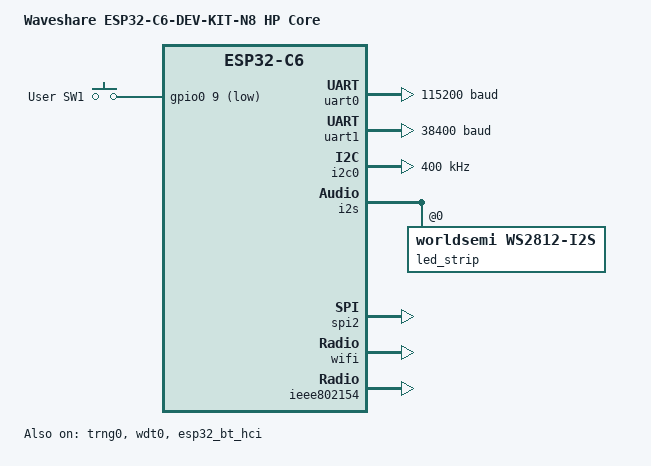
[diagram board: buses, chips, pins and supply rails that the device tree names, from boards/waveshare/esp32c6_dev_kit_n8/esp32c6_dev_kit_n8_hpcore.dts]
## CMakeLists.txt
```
cmake_minimum_required(VERSION 3.20.0)

list(APPEND BOARD_ROOT ${CMAKE_CURRENT_SOURCE_DIR})

find_package(Zephyr REQUIRED HINTS $ENV{ZEPHYR_BASE})
project(esp_nmea_bridge)

target_sources(app PRIVATE
  src/main.c
  src/ais_mmsi_filter.c
  src/bridge_config.c
  src/nmea_bridge.c
  src/uart_nmea.c
  src/wifi_manager.c
  src/tcp_nmea_server.c
  src/tcp_nmea_session.c
  src/tcp_nmea_client.c
)

configure_file(
  ${CMAKE_CURRENT_SOURCE_DIR}/src/web_assets.S.in
  ${CMAKE_CURRENT_BINARY_DIR}/web_assets.S
  @ONLY
)

# Keep every embedded WebApp asset listed here so UI-only OTA changes
# invalidate the generated incbin object without relying on implicit scans.
set_property(SOURCE ${CMAKE_CURRENT_BINARY_DIR}/web_assets.S PROPERTY OBJECT_DEPENDS
  ${CMAKE_CURRENT_SOURCE_DIR}/src/web_assets/index.html
  ${CMAKE_CURRENT_SOURCE_DIR}/src/web_assets/app.js
  ${CMAKE_CURRENT_SOURCE_DIR}/src/web_assets/style.css
)

target_sources_ifdef(CONFIG_ESP_NMEA_BRIDGE_WEB_APP_ENABLE app PRIVATE
  src/bridge_telemetry.c
  src/web_app.c
  ${CMAKE_CURRENT_BINARY_DIR}/web_assets.S
)

target_sources_ifdef(CONFIG_ESP_NMEA_BRIDGE_OTA_UPDATE_ENABLE app PRIVATE
  src/ota_update.c
)

target_sources_ifdef(CONFIG_ESP_NMEA_BRIDGE_STATUS_LED_ENABLE app PRIVATE
  src/status_led.c
  src/status_led_policy.c
)

target_sources_ifdef(CONFIG_ESP_NMEA_BRIDGE_DNS_SD_ENABLE app PRIVATE
  src/nmea_dns_sd.c
)
```

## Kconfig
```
# ESP NMEA Bridge application configuration

mainmenu "ESP NMEA Bridge"

menu "ESP NMEA-0183 serial bridge"

config ESP_NMEA_BRIDGE_AP_ENABLE
	bool "Enable ESP32 SoftAP"
	default y

config ESP_NMEA_BRIDGE_STA_ENABLE
	bool "Enable Wi-Fi station mode"
	default y
	help
	  Runtime default only: station support is always built in, and a
	  stored bridge-configuration override takes precedence at boot.

config ESP_NMEA_BRIDGE_TCP_NMEA_SERVER_ENABLE
	bool "Enable TCP NMEA server"
	default y

config ESP_NMEA_BRIDGE_TCP_NMEA_CLIENT_ENABLE
	bool "Enable TCP NMEA client"
	default y
	help
	  Runtime default only: the TCP NMEA client is always built in, and a
	  stored bridge-configuration override takes precedence.

config ESP_NMEA_BRIDGE_WEB_APP_ENABLE
	bool "Enable HTTP status web app"
	default y
	depends on NETWORKING
	depends on NET_TCP
	depends on NET_SOCKETS
	select REBOOT
	help
	  Serve a small HTTP web app and JSON status endpoint on port 80.
	  The browser polls /api/status to display bridge telemetry counters.
	  Includes the configuration API with its explicit reboot endpoint.

config ESP_NMEA_BRIDGE_OTA_UPDATE_ENABLE
	bool "Enable WebApp firmware OTA updates"
	default n
	depends on ESP_NMEA_BRIDGE_WEB_APP_ENABLE
	depends on FLASH
	depends on FLASH_MAP
	depends on STREAM_FLASH
	depends on IMG_MANAGER
	select REBOOT
	help
	  Enable firmware upload through the local WebApp. Uploaded images are
	  written to the MCUboot upload slot and booted once as a test image.
	  Leave this disabled unless the WebApp network is trusted.

config ESP_NMEA_BRIDGE_OTA_MAX_UPLOAD_BYTES
	int "Maximum OTA upload size in bytes"
	default 0
	depends on ESP_NMEA_BRIDGE_OTA_UPDATE_ENABLE
	help
	  Optional upload-size ceiling. A value of 0 uses the MCUboot upload slot
	  size reported by the flash map at runtime.

config ESP_NMEA_BRIDGE_OTA_UPLOAD_TRUSTED_NETWORK_ENABLE
	bool "Allow WebApp OTA uploads from the reachable HTTP network"
	default n
	depends on ESP_NMEA_BRIDGE_OTA_UPDATE_ENABLE
	help
	  Allow POST /api/ota/upload to accept firmware bytes from clients that can
	  reach the WebApp. Enable only on an isolated or otherwise trusted network;
	  this is a deliberate acknowledgement that the endpoint has no per-user
	  authentication.

config ESP_NMEA_BRIDGE_STATUS_LED_ENABLE
	bool "Enable status LED observer"
	default y
	select LED_STRIP
	help
	  Enable the optional status LED observer. When enabled, the observer
	  looks for a NeoPixel-compatible LED strip through the led-strip
	  devicetree alias and renders NMEA connection state. Missing or
	  non-ready LED hardware is non-fatal.

config ESP_NMEA_BRIDGE_AIS_SELF_MMSI_FILTER_ENABLE
	bool "AIS self-MMSI filter enabled by default"
	default n
	help
	  Runtime default for the AIS self-MMSI filter, which drops AIS VDM
	  NMEA frames whose decoded MMSI matches the configured own MMSI.
	  The filter is always built in; a runtime override stored through
	  the web app's Configuration tab takes precedence over this default.

config ESP_NMEA_BRIDGE_AIS_SELF_MMSI_FILTER_MMSI
	int "Own MMSI runtime default for AIS self-MMSI filter"
	default 0
	range 0 999999999
	help
	  Runtime default for the own MMSI to filter. A stored runtime
	  override takes precedence. A value of 0 leaves the filter
	  effectively inactive even when it is enabled.

config ESP_NMEA_BRIDGE_MDNS_ENABLE
	bool "Enable mDNS hostname responder"
	default n
	select NET_HOSTNAME_ENABLE
	select MDNS_RESPONDER
	help
	  Enable Zephyr's mDNS responder so the device can answer
	  <hostname>.local queries. Set CONFIG_NET_HOSTNAME to choose the
	  hostname.

config ESP_NMEA_BRIDGE_DNS_SD_ENABLE
	bool "Advertise enabled services via DNS-SD"
	default n
	depends on ESP_NMEA_BRIDGE_MDNS_ENABLE
	depends on ESP_NMEA_BRIDGE_TCP_NMEA_SERVER_ENABLE || ESP_NMEA_BRIDGE_WEB_APP_ENABLE
	select DNS_SD
	select MDNS_RESPONDER_DNS_SD
	help
	  Advertise enabled network services via DNS Service Discovery. The TCP
	  NMEA-0183 server is advertised as _nmea-0183._tcp.local when enabled;
	  the built-in web app is advertised as _http._tcp.local when enabled.
	  Services are only advertised when the corresponding listener is built in.

config ESP_NMEA_BRIDGE_TCP_NMEA_CLIENT_HOST
	string "TCP NMEA server IPv4 address"
	default ""
	help
	  IPv4 address of the upstream TCP NMEA server. Leave empty to use the
	  DHCP gateway learned on the STA interface, useful when the ESP connects
	  directly to a Raspberry Pi/OpenPlotter hotspot.
	  Runtime default; a stored bridge-configuration override wins.

config ESP_NMEA_BRIDGE_TCP_NMEA_CLIENT_PORT
	int "TCP NMEA client target port"
	default ESP_NMEA_BRIDGE_TCP_NMEA_PORT
	range 1 65535
	help
	  Target port of the upstream TCP NMEA server. Defaults to the shared
	  TCP NMEA port. Runtime default; a stored bridge-configuration
	  override wins. The TCP NMEA server listener port stays build-time
	  only.

config ESP_NMEA_BRIDGE_AP_SSID
	string "SoftAP SSID"
	default "ESP-NMEA0183"
	help
	  Runtime default; a stored bridge-configuration override wins.

config ESP_NMEA_BRIDGE_AP_PSK
	string "SoftAP WPA2 PSK password"
	default "ChangeMe1234"
	help
	  Prototype default only. Override in a local/pristine overlay for real use.
	  Leave empty to start an open SoftAP.
	  Runtime default; a stored bridge-configuration override wins.

config ESP_NMEA_BRIDGE_STA_SSID
	string "STA target AP SSID"
	default ""
	help
	  Runtime default; a stored bridge-configuration override wins.

config ESP_NMEA_BRIDGE_STA_PSK
	string "STA target AP password"
	default ""
	help
	  Runtime default; a stored bridge-configuration override wins.

config ESP_NMEA_BRIDGE_STA_ROTATE_MAC
	bool "Rotate STA MAC address on boot"
	default y
	help
	  Use a random locally administered STA MAC address on each boot. This
	  avoids stale station state on APs that keep the previous association
	  after the ESP resets without sending a deauthentication frame.
	  Runtime default; a stored bridge-configuration override wins.

config ESP_NMEA_BRIDGE_TCP_NMEA_PORT
	int "TCP NMEA port"
	default 10110

config ESP_NMEA_BRIDGE_TCP_NMEA_SERVER_MAX_PEERS
	int "Maximum TCP NMEA server peers"
	default 3
	range 1 8

config ESP_NMEA_BRIDGE_NMEA_SINKS_MAX
	int "Maximum NMEA bridge sinks"
	default 4
	range 1 9
	help
	  Maximum concurrent sinks registered with the in-process NMEA bridge.
	  TCP NMEA server sessions and the outbound TCP NMEA client each consume
	  one sink while connected. Keep this at least TCP_NMEA_SERVER_MAX_PEERS
	  plus one when the TCP NMEA client is enabled.

config ESP_NMEA_BRIDGE_NMEA_FRAME_MAX_LEN
	int "Maximum NMEA frame length"
	default 128
	range 32 512

config ESP_NMEA_BRIDGE_INGEST_QUEUE_DEPTH
	int "NMEA ingest queue depth"
	default 32
	range 2 256

config ESP_NMEA_BRIDGE_SINK_QUEUE_DEPTH
	int "Per-sink NMEA queue depth"
	default 16
	range 2 128

config ESP_NMEA_BRIDGE_AP_IP_ADDRESS
	string "SoftAP IPv4 address"
	default "192.168.4.1"

config ESP_NMEA_BRIDGE_AP_NETMASK
	string "SoftAP IPv4 netmask"
	default "255.255.255.0"

endmenu

source "Kconfig.zephyr"
```

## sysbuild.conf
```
# Build MCUboot together with the application and sign the application image.
SB_CONFIG_BOOTLOADER_MCUBOOT=y
```

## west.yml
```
manifest:
  remotes:
    - name: zephyrproject-rtos
      url-base: https://github.com/zephyrproject-rtos

  defaults:
    remote: zephyrproject-rtos

  projects:
    - name: zephyr
      revision: 6072d4880d2d8deeadb506929adca4dba44c8220
      import: true

  self:
    path: esp-nmea-bridge
```

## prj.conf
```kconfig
# ESP NMEA Bridge application configuration

# Logging
CONFIG_LOG=y
CONFIG_LOG_MODE_DEFERRED=y
CONFIG_LOG_DEFAULT_LEVEL=3
CONFIG_NET_LOG=y

# UART NMEA input
CONFIG_SERIAL=y
CONFIG_UART_CONSOLE=y

# Board flash: the Waveshare N8 module has 8 MiB. Keep the image header in
# sync so the ROM bootloader validates the flashed image correctly.
CONFIG_ESPTOOLPY_FLASHSIZE_8MB=y

# DFU image handling used by the future OTA path. Sysbuild sets
# CONFIG_BOOTLOADER_MCUBOOT when MCUboot builds are requested.
CONFIG_FLASH=y
CONFIG_FLASH_MAP=y
CONFIG_STREAM_FLASH=y
CONFIG_IMG_MANAGER=y
CONFIG_IMG_ERASE_PROGRESSIVELY=y

# Bridge configuration overrides persisted via the Settings subsystem on the
# NVS storage partition; Kconfig values stay the defaults (see ADR 0002).
CONFIG_NVS=y
CONFIG_SETTINGS=y
CONFIG_SETTINGS_NVS=y

# JSON parsing for the config web API
CONFIG_JSON_LIBRARY=y

# Runtime heap: ESP-IDF's Wi-Fi stack creates legacy ETS timers dynamically
# while enabling AP+STA. The default ESP Wi-Fi heap add-on is too tight and
# can make esp_timer_create() fail with ESP_ERR_NO_MEM.
CONFIG_HEAP_MEM_POOL_SIZE=98304

# Wi-Fi AP+STA
CONFIG_WIFI=y
CONFIG_WIFI_NM=y
CONFIG_WIFI_ESP32=y
CONFIG_WIFI_USAGE_MODE_STA_AP=y
# Prefer a full STA scan over ESP-IDF fast scan. This mirrors the robust
# client behaviour we expect from the ESP-IDF implementation and avoids
# latching onto the first matching BSSID seen in marginal RF conditions.
CONFIG_ESP32_WIFI_STA_SCAN_ALL=y
# Network core
CONFIG_NETWORKING=y
CONFIG_NET_IPV4=y
CONFIG_NET_IPV6=n
CONFIG_NET_TCP=y
CONFIG_NET_UDP=y
CONFIG_NET_SOCKETS=y
CONFIG_NET_CONTEXT_RCVTIMEO=y
CONFIG_NET_MGMT=y
CONFIG_NET_MGMT_EVENT=y
CONFIG_NET_MGMT_EVENT_INFO=y
CONFIG_NET_MGMT_EVENT_QUEUE_SIZE=16
CONFIG_NET_MGMT_EVENT_STACK_SIZE=4096
CONFIG_NET_CONNECTION_MANAGER=y
CONFIG_NET_CONFIG_AUTO_INIT=n
CONFIG_NET_L2_ETHERNET=y
CONFIG_NET_L2_WIFI_MGMT=y

# Device hostname: the Kconfig value is the runtime default; a stored
# bridge-configuration override is applied at boot via the dynamic hostname
# support and affects mDNS (<hostname>.local) and the DHCP client hostname.
# Keep discovery default-off in committed defaults; enable the app options in
# local.conf.
CONFIG_NET_HOSTNAME_ENABLE=y
CONFIG_NET_HOSTNAME_DYNAMIC=y
CONFIG_NET_HOSTNAME="esp-nmea-bridge"
CONFIG_ESP_NMEA_BRIDGE_MDNS_ENABLE=n
CONFIG_ESP_NMEA_BRIDGE_DNS_SD_ENABLE=n

# IPv4 addressing for AP and STA
CONFIG_NET_DHCPV4=y
CONFIG_NET_DHCPV4_SERVER=y
CONFIG_NET_IF_MAX_IPV4_COUNT=2

# Packet/socket resources for multiple clients and AP+STA
CONFIG_NET_PKT_RX_COUNT=24
CONFIG_NET_PKT_TX_COUNT=24
CONFIG_NET_BUF_RX_COUNT=48
CONFIG_NET_BUF_TX_COUNT=48
CONFIG_NET_SOCKETS_SERVICE_STACK_SIZE=4096
# AP DHCPv4 and optional mDNS/DNS-SD share Zephyr's socket service. The
# default poll table size (3) is too small once mDNS is enabled.
CONFIG_ZVFS_POLL_MAX=8
CONFIG_NET_MAX_CONN=16
CONFIG_NET_MAX_CONTEXTS=16

# Application defaults; override credentials in a local overlay, not source.
CONFIG_ESP_NMEA_BRIDGE_AP_ENABLE=y
CONFIG_ESP_NMEA_BRIDGE_STA_ENABLE=y
CONFIG_ESP_NMEA_BRIDGE_TCP_NMEA_SERVER_ENABLE=y
CONFIG_ESP_NMEA_BRIDGE_TCP_NMEA_CLIENT_ENABLE=y
CONFIG_ESP_NMEA_BRIDGE_WEB_APP_ENABLE=y
# Keep both firmware-write OTA gates disabled in committed defaults; enable only
# in local.conf or another uncommitted overlay for trusted-network development.
CONFIG_ESP_NMEA_BRIDGE_OTA_UPDATE_ENABLE=n
CONFIG_ESP_NMEA_BRIDGE_OTA_UPLOAD_TRUSTED_NETWORK_ENABLE=n
CONFIG_ESP_NMEA_BRIDGE_AP_SSID="ESP-NMEA0183"
CONFIG_ESP_NMEA_BRIDGE_AP_PSK="ChangeMe1234"
CONFIG_ESP_NMEA_BRIDGE_TCP_NMEA_PORT=10110
CONFIG_ESP_NMEA_BRIDGE_TCP_NMEA_SERVER_MAX_PEERS=3
CONFIG_ESP_NMEA_BRIDGE_NMEA_SINKS_MAX=4
CONFIG_ESP_NMEA_BRIDGE_NMEA_FRAME_MAX_LEN=128
CONFIG_ESP_NMEA_BRIDGE_INGEST_QUEUE_DEPTH=32
CONFIG_ESP_NMEA_BRIDGE_SINK_QUEUE_DEPTH=16
CONFIG_ESP_NMEA_BRIDGE_AP_IP_ADDRESS="192.168.4.1"
CONFIG_ESP_NMEA_BRIDGE_AP_NETMASK="255.255.255.0"
```

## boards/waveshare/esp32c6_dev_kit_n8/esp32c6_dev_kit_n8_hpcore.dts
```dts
/*
 * Copyright (c) 2023 Espressif Systems (Shanghai) Co., Ltd.
 *
 * SPDX-License-Identifier: Apache-2.0
 */

/dts-v1/;

#include <espressif/esp32c6/esp32c6_wroom_n8.dtsi>
#include "esp32c6_dev_kit_n8_hpcore-pinctrl.dtsi"
#include <zephyr/dt-bindings/input/input-event-codes.h>
#include <zephyr/dt-bindings/led/led.h>
#include <espressif/partitions_0x0_default.dtsi>

/ {
	model = "Waveshare ESP32-C6-DEV-KIT-N8 HP Core";
	compatible = "waveshare,esp32-c6-dev-kit-n8";

	chosen {
		zephyr,sram = &sramhp;
		zephyr,console = &uart0;
		zephyr,shell-uart = &uart0;
		zephyr,flash = &flash0;
		zephyr,code-partition = &slot0_partition;
		zephyr,ieee802154 = &ieee802154;
	};

	aliases {
		led-strip = &led_strip;
		serial1 = &uart1;
		sw0 = &user_button1;
		watchdog0 = &wdt0;
	};

	gpio_keys {
		compatible = "gpio-keys";

		user_button1: button_1 {
			label = "User SW1";
			gpios = <&gpio0 9 (GPIO_PULL_UP | GPIO_ACTIVE_LOW)>;
			zephyr,code = <INPUT_KEY_0>;
		};
	};
};

&uart0 {
	status = "okay";
	current-speed = <115200>;
	pinctrl-0 = <&uart0_default>;
	pinctrl-names = "default";
};

&uart1 {
	status = "okay";
	current-speed = <38400>;
	pinctrl-0 = <&uart1_default>;
	pinctrl-names = "default";
};

&trng0 {
	status = "okay";
};

&i2c0 {
	status = "okay";
	clock-frequency = <I2C_BITRATE_FAST>;
	pinctrl-0 = <&i2c0_default>;
	pinctrl-names = "default";
};

&i2s {
	status = "okay";
	pinctrl-0 = <&i2s_default>;
	pinctrl-names = "default";
	dmas = <&dma 3>;
	dma-names = "tx";

	led_strip: ws2812@0 {
		compatible = "worldsemi,ws2812-i2s";
		reg = <0>;
		chain-length = <1>;
		color-mapping = <LED_COLOR_ID_RED
				 LED_COLOR_ID_GREEN
				 LED_COLOR_ID_BLUE>;
		reset-delay = <500>;
	};
};

&spi2 {
	#address-cells = <1>;
	#size-cells = <0>;
	status = "okay";
	pinctrl-0 = <&spim2_default>;
	pinctrl-names = "default";
};

&gpio0 {
	status = "okay";
};

&dma {
	status = "okay";
};

&wdt0 {
	status = "okay";
};

&wifi {
	status = "okay";
};

&ieee802154 {
	status = "okay";
};

&esp32_bt_hci {
	status = "okay";
};
```

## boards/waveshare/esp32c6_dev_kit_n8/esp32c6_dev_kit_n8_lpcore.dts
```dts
/*
 * Copyright (c) 2025 Espressif Systems (Shanghai) Co., Ltd.
 *
 * SPDX-License-Identifier: Apache-2.0
 */
/dts-v1/;

#include <espressif/esp32c6/esp32c6_lpcore_wroom_n4.dtsi>
#include <espressif/partitions_0x0_default.dtsi>

/ {
	model = "Waveshare ESP32-C6-DEV-KIT-N8 LPCORE";
	compatible = "waveshare,esp32-c6-dev-kit-n8";

	chosen {
		zephyr,sram = &ulp_ram;
		zephyr,code-partition = &slot0_lpcore_partition;
		zephyr,console = &lp_uart;
		zephyr,shell-uart = &lp_uart;
	};
};

&lp_uart {
	status = "okay";
	current-speed = <115200>;
};
```

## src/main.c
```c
#include "bridge_config.h"
#include "nmea_bridge.h"
#include "status_led.h"
#include "tcp_nmea_server.h"
#include "tcp_nmea_client.h"
#include "uart_nmea.h"
#include "web_app.h"
#include "wifi_manager.h"

#include <string.h>

#include <zephyr/kernel.h>
#include <zephyr/logging/log.h>
#include <zephyr/net/hostname.h>

LOG_MODULE_REGISTER(main, LOG_LEVEL_INF);

static void stats_thread(void *a, void *b, void *c)
{
	ARG_UNUSED(a);
	ARG_UNUSED(b);
	ARG_UNUSED(c);

	for (;;) {
		struct uart_nmea_stats uart_stats;
		struct nmea_bridge_stats bridge_stats;

		uart_nmea_get_stats(&uart_stats);
		nmea_bridge_get_stats(&bridge_stats);

		LOG_INF("stats: uart_bytes=%u uart_frames=%u overlong=%u frames=%u ingest_drop=%u sink_drop=%u no_sinks=%u invalid=%u oversize=%u",
			uart_stats.bytes_rx, uart_stats.frames_rx, uart_stats.overlong_frames,
			bridge_stats.frames_in, bridge_stats.ingest_dropped_oldest,
			bridge_stats.sink_dropped_oldest, bridge_stats.publish_no_sinks,
			bridge_stats.publish_invalid, bridge_stats.publish_oversize);

		k_sleep(K_SECONDS(30));
	}
}

K_THREAD_DEFINE(stats_tid, 2048, stats_thread, NULL, NULL, NULL,
	       10, 0, 0);

/*
 * Hostname is reboot-scope: applied once before the network comes up. mDNS
 * and the DHCP client read the hostname per request, so setting it here is
 * sufficient for <hostname>.local and the router's client list.
 */
static void apply_hostname(void)
{
	struct bridge_config_system sys_cfg;
	int ret;

	if (!IS_ENABLED(CONFIG_NET_HOSTNAME_DYNAMIC)) {
		return;
	}

	bridge_config_get_system(&sys_cfg);
	ret = net_hostname_set(sys_cfg.hostname, strlen(sys_cfg.hostname));
	if (ret != 0) {
		LOG_WRN("Setting hostname %s failed: %d", sys_cfg.hostname, ret);
	}
}

static void bridge_config_changed(void)
{
	struct bridge_config_ais ais;

	bridge_config_get_ais(&ais);
	uart_nmea_set_ais_config(ais.filter_enabled, ais.own_mmsi);
	tcp_nmea_client_config_changed();
}

int main(void)
{
	LOG_INF("ESP NMEA bridge on %s", CONFIG_BOARD_TARGET);

	nmea_bridge_init();

	int ret = bridge_config_init();
	if (ret != 0) {
		LOG_WRN("Bridge config load returned %d; using build-time defaults", ret);
	}
	bridge_config_set_listener(bridge_config_changed);
	bridge_config_changed();
	apply_hostname();

	(void)status_led_start();

	ret = uart_nmea_start();
	if (ret != 0) {
		LOG_ERR("UART NMEA startup failed: %d", ret);
		return ret;
	}

	/* Let the ESP32 Wi-Fi stack settle, matching Zephyr AP+STA sample practice. */
	k_sleep(K_SECONDS(5));

	ret = wifi_manager_start();
	if (ret != 0) {
		LOG_WRN("Wi-Fi startup returned %d; UART ingestion continues", ret);
	}

	ret = tcp_nmea_server_start();
	if (ret != 0) {
		LOG_WRN("TCP NMEA server startup returned %d; UART ingestion continues", ret);
	}

	ret = tcp_nmea_client_start();
	if (ret != 0) {
		LOG_WRN("TCP NMEA client startup returned %d; UART ingestion continues", ret);
	}

	ret = web_app_start();
	if (ret != 0) {
		LOG_WRN("Web app startup returned %d; UART ingestion continues", ret);
	}

	return 0;
}
```

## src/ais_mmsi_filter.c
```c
#include "ais_mmsi_filter.h"

#include <ctype.h>
#include <string.h>

struct field_view {
	const char *ptr;
	size_t len;
};

static int hex_value(char ch)
{
	if (ch >= '0' && ch <= '9') {
		return ch - '0';
	}
	if (ch >= 'A' && ch <= 'F') {
		return ch - 'A' + 10;
	}
	if (ch >= 'a' && ch <= 'f') {
		return ch - 'a' + 10;
	}
	return -1;
}

static bool checksum_is_valid(const char *frame, size_t len, size_t *body_start,
				      size_t *body_len)
{
	if (len < 5U || (frame[0] != '!' && frame[0] != '$')) {
		return false;
	}

	size_t star = 0U;
	for (size_t i = 1U; i < len; i++) {
		if (frame[i] == '*') {
			star = i;
			break;
		}
	}
	if (star == 0U || star + 2U >= len) {
		return false;
	}

	int hi = hex_value(frame[star + 1U]);
	int lo = hex_value(frame[star + 2U]);
	if (hi < 0 || lo < 0) {
		return false;
	}

	uint8_t actual = 0U;
	for (size_t i = 1U; i < star; i++) {
		actual ^= (uint8_t)frame[i];
	}

	if (actual != (uint8_t)((hi << 4) | lo)) {
		return false;
	}

	*body_start = 1U;
	*body_len = star - 1U;
	return true;
}

static bool split_fields(const char *body, size_t body_len, struct field_view *fields,
				 size_t field_count)
{
	size_t field = 0U;
	size_t start = 0U;

	for (size_t i = 0U; i <= body_len; i++) {
		if (i != body_len && body[i] != ',') {
			continue;
		}

		if (field >= field_count) {
			return true;
		}

		fields[field].ptr = &body[start];
		fields[field].len = i - start;
		field++;
		start = i + 1U;
	}

	return field >= field_count;
}

static bool parse_uint_field(const struct field_view *field, uint8_t *value)
{
	if (field->len == 0U || field->len > 3U) {
		return false;
	}

	uint16_t parsed = 0U;
	for (size_t i = 0U; i < field->len; i++) {
		if (!isdigit((unsigned char)field->ptr[i])) {
			return false;
		}
		parsed = (uint16_t)(parsed * 10U + (uint16_t)(field->ptr[i] - '0'));
		if (parsed > UINT8_MAX) {
			return false;
		}
	}

	*value = (uint8_t)parsed;
	return true;
}

static int ais_sixbit_value(char ch)
{
	unsigned char c = (unsigned char)ch;

	if (c < 48U || c > 119U) {
		return -1;
	}

	int value = (int)c - 48;
	if (value > 40) {
		value -= 8;
	}
	if (value < 0 || value > 63) {
		return -1;
	}
	return value;
}

static bool decode_mmsi(const struct field_view *payload, uint32_t *mmsi)
{
	if (payload->len < 7U) {
		return false;
	}

	uint64_t bits = 0U;
	for (size_t i = 0U; i < 7U; i++) {
		int value = ais_sixbit_value(payload->ptr[i]);
		if (value < 0) {
			return false;
		}
		bits = (bits << 6) | (uint64_t)value;
	}

	*mmsi = (uint32_t)((bits >> 4) & 0x3fffffffU);
	return true;
}

static bool formatter_is_vdm(const struct field_view *formatter)
{
	return formatter->len == 5U && formatter->ptr[2] == 'V' && formatter->ptr[3] == 'D' &&
	       formatter->ptr[4] == 'M';
}

static char channel_value(const struct field_view *channel)
{
	return channel->len == 1U ? channel->ptr[0] : '\0';
}

static bool sequence_matches(const struct ais_mmsi_filter_sequence *sequence,
			     const struct field_view *seq_id, char channel, uint8_t total,
			     uint8_t fragment)
{
	return sequence->active && sequence->total_fragments == total &&
	       sequence->next_fragment == fragment && sequence->channel == channel &&
	       strlen(sequence->sequence_id) == seq_id->len &&
	       strncmp(sequence->sequence_id, seq_id->ptr, seq_id->len) == 0;
}

static void remember_sequence(struct ais_mmsi_filter *filter, const struct field_view *seq_id,
			      char channel, uint8_t total)
{
	if (seq_id->len == 0U || seq_id->len > AIS_MMSI_FILTER_SEQ_ID_MAX_LEN || total < 2U) {
		filter->sequence.active = false;
		return;
	}

	filter->sequence.active = true;
	filter->sequence.total_fragments = total;
	filter->sequence.next_fragment = 2U;
	filter->sequence.channel = channel;
	memcpy(filter->sequence.sequence_id, seq_id->ptr, seq_id->len);
	filter->sequence.sequence_id[seq_id->len] = '\0';
}

void ais_mmsi_filter_init(struct ais_mmsi_filter *filter, uint32_t own_mmsi)
{
	if (filter == NULL) {
		return;
	}

	memset(filter, 0, sizeof(*filter));
	filter->own_mmsi = own_mmsi;
}

bool ais_mmsi_filter_should_drop(struct ais_mmsi_filter *filter, const void *frame, size_t len)
{
	if (filter == NULL || frame == NULL || len == 0U || filter->own_mmsi == 0U) {
		return false;
	}

	const char *text = frame;
	size_t body_start;
	size_t body_len;
	if (!checksum_is_valid(text, len, &body_start, &body_len)) {
		return false;
	}

	struct field_view fields[7] = { 0 };
	if (!split_fields(&text[body_start], body_len, fields, 7U) || !formatter_is_vdm(&fields[0])) {
		return false;
	}

	uint8_t total;
	uint8_t fragment;
	if (!parse_uint_field(&fields[1], &total) || !parse_uint_field(&fields[2], &fragment) ||
	    total == 0U || fragment == 0U || fragment > total) {
		return false;
	}

	char channel = channel_value(&fields[4]);

	if (fragment > 1U) {
		if (!sequence_matches(&filter->sequence, &fields[3], channel, total, fragment)) {
			return false;
		}
		filter->sequence.next_fragment++;
		if (filter->sequence.next_fragment > filter->sequence.total_fragments) {
			filter->sequence.active = false;
		}
		return true;
	}

	uint32_t mmsi;
	if (!decode_mmsi(&fields[5], &mmsi) || mmsi != filter->own_mmsi) {
		return false;
	}

	if (total > 1U) {
		remember_sequence(filter, &fields[3], channel, total);
	} else {
		filter->sequence.active = false;
	}

	return true;
}
```

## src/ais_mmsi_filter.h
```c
#ifndef AIS_MMSI_FILTER_H_
#define AIS_MMSI_FILTER_H_

#include <stdbool.h>
#include <stddef.h>
#include <stdint.h>

#define AIS_MMSI_FILTER_SEQ_ID_MAX_LEN 8U

struct ais_mmsi_filter_sequence {
	bool active;
	uint8_t total_fragments;
	uint8_t next_fragment;
	char sequence_id[AIS_MMSI_FILTER_SEQ_ID_MAX_LEN + 1U];
	char channel;
};

struct ais_mmsi_filter {
	uint32_t own_mmsi;
	struct ais_mmsi_filter_sequence sequence;
};

void ais_mmsi_filter_init(struct ais_mmsi_filter *filter, uint32_t own_mmsi);
bool ais_mmsi_filter_should_drop(struct ais_mmsi_filter *filter, const void *frame, size_t len);

#endif /* AIS_MMSI_FILTER_H_ */
```

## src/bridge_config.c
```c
#include "bridge_config.h"

#include <errno.h>
#include <stddef.h>
#include <string.h>

#include <zephyr/kernel.h>
#include <zephyr/logging/log.h>
#include <zephyr/settings/settings.h>

#ifdef CONFIG_ZTEST
int bridge_config_test_settings_subsys_init(void);
int bridge_config_test_settings_load_subtree(const char *subtree);
int bridge_config_test_settings_save_one(const char *name, const void *value, size_t val_len);
int bridge_config_test_settings_load_subtree_direct(const char *subtree,
						    settings_load_direct_cb cb, void *param);
int bridge_config_test_settings_delete(const char *name);
#define cfg_settings_subsys_init bridge_config_test_settings_subsys_init
#define cfg_settings_load_subtree bridge_config_test_settings_load_subtree
#define cfg_settings_save_one bridge_config_test_settings_save_one
#define cfg_settings_load_subtree_direct bridge_config_test_settings_load_subtree_direct
#define cfg_settings_delete bridge_config_test_settings_delete
#else
#define cfg_settings_subsys_init settings_subsys_init
#define cfg_settings_load_subtree settings_load_subtree
#define cfg_settings_save_one settings_save_one
#define cfg_settings_load_subtree_direct settings_load_subtree_direct
#define cfg_settings_delete settings_delete
#endif

LOG_MODULE_REGISTER(bridge_config, LOG_LEVEL_INF);

#define BRIDGE_CONFIG_SUBTREE "bridge"
#define BRIDGE_CONFIG_KEY_AIS "bridge/ais"
#define BRIDGE_CONFIG_KEY_STA "bridge/sta"
#define BRIDGE_CONFIG_KEY_TCP "bridge/tcp"
#define BRIDGE_CONFIG_KEY_AP "bridge/ap"
#define BRIDGE_CONFIG_KEY_SYS "bridge/sys"

/*
 * Both AIS fields travel in one stored record so a save is atomic at the
 * NVS level: [0] enabled flag, [1..4] own MMSI in native byte order.
 */
#define AIS_RECORD_LEN 5U

/*
 * All STA fields travel in one fixed-size record for the same atomicity:
 * [0] enabled, [1] rotate_mac, [2] ssid_len, [3..34] ssid,
 * [35] psk_len, [36..98] psk.
 */
#define STA_RECORD_SSID_OFF 3U
#define STA_RECORD_PSK_LEN_OFF (STA_RECORD_SSID_OFF + BRIDGE_CONFIG_WIFI_SSID_MAX)
#define STA_RECORD_PSK_OFF (STA_RECORD_PSK_LEN_OFF + 1U)
#define STA_RECORD_LEN (STA_RECORD_PSK_OFF + BRIDGE_CONFIG_WIFI_PSK_MAX)

static void ais_record_pack(const struct bridge_config_ais *src, uint8_t record[AIS_RECORD_LEN])
{
	record[0] = src->filter_enabled ? 1U : 0U;
	memcpy(&record[1], &src->own_mmsi, sizeof(src->own_mmsi));
}

static void ais_record_unpack(const uint8_t record[AIS_RECORD_LEN], struct bridge_config_ais *dst)
{
	dst->filter_enabled = record[0] != 0U;
	memcpy(&dst->own_mmsi, &record[1], sizeof(dst->own_mmsi));
}

static void sta_record_pack(const struct bridge_config_sta *src, uint8_t record[STA_RECORD_LEN])
{
	memset(record, 0, STA_RECORD_LEN);
	record[0] = src->enabled ? 1U : 0U;
	record[1] = src->rotate_mac ? 1U : 0U;
	record[2] = (uint8_t)strlen(src->ssid);
	memcpy(&record[STA_RECORD_SSID_OFF], src->ssid, record[2]);
	record[STA_RECORD_PSK_LEN_OFF] = (uint8_t)strlen(src->psk);
	memcpy(&record[STA_RECORD_PSK_OFF], src->psk, record[STA_RECORD_PSK_LEN_OFF]);
}

static bool sta_record_unpack(const uint8_t record[STA_RECORD_LEN], struct bridge_config_sta *dst)
{
	uint8_t ssid_len = record[2];
	uint8_t psk_len = record[STA_RECORD_PSK_LEN_OFF];

	if (ssid_len > BRIDGE_CONFIG_WIFI_SSID_MAX ||
	    (psk_len != 0U && (psk_len < BRIDGE_CONFIG_WIFI_PSK_MIN ||
			       psk_len > BRIDGE_CONFIG_WIFI_PSK_MAX))) {
		return false;
	}

	memset(dst, 0, sizeof(*dst));
	dst->enabled = record[0] != 0U;
	dst->rotate_mac = record[1] != 0U;
	memcpy(dst->ssid, &record[STA_RECORD_SSID_OFF], ssid_len);
	memcpy(dst->psk, &record[STA_RECORD_PSK_OFF], psk_len);
	/* Embedded NULs would silently shorten the credentials in use. */
	return strlen(dst->ssid) == ssid_len && strlen(dst->psk) == psk_len &&
	       bridge_config_text_valid(dst->ssid);
}

/*
 * Both AP fields travel in one fixed-size record for the same atomicity:
 * [0] ssid_len, [1..32] ssid, [33] psk_len, [34..96] psk.
 */
#define AP_RECORD_SSID_OFF 1U
#define AP_RECORD_PSK_LEN_OFF (AP_RECORD_SSID_OFF + BRIDGE_CONFIG_WIFI_SSID_MAX)
#define AP_RECORD_PSK_OFF (AP_RECORD_PSK_LEN_OFF + 1U)
#define AP_RECORD_LEN (AP_RECORD_PSK_OFF + BRIDGE_CONFIG_WIFI_PSK_MAX)

static void ap_record_pack(const struct bridge_config_ap *src, uint8_t record[AP_RECORD_LEN])
{
	memset(record, 0, AP_RECORD_LEN);
	record[0] = (uint8_t)strlen(src->ssid);
	memcpy(&record[AP_RECORD_SSID_OFF], src->ssid, record[0]);
	record[AP_RECORD_PSK_LEN_OFF] = (uint8_t)strlen(src->psk);
	memcpy(&record[AP_RECORD_PSK_OFF], src->psk, record[AP_RECORD_PSK_LEN_OFF]);
}

static bool ap_record_unpack(const uint8_t record[AP_RECORD_LEN], struct bridge_config_ap *dst)
{
	uint8_t ssid_len = record[0];
	uint8_t psk_len = record[AP_RECORD_PSK_LEN_OFF];

	if (ssid_len == 0U || ssid_len > BRIDGE_CONFIG_WIFI_SSID_MAX ||
	    (psk_len != 0U && (psk_len < BRIDGE_CONFIG_WIFI_PSK_MIN ||
			       psk_len > BRIDGE_CONFIG_WIFI_PSK_MAX))) {
		return false;
	}

	memset(dst, 0, sizeof(*dst));
	memcpy(dst->ssid, &record[AP_RECORD_SSID_OFF], ssid_len);
	memcpy(dst->psk, &record[AP_RECORD_PSK_OFF], psk_len);
	/* An embedded NUL could silently turn the rescue AP into an open one. */
	return strlen(dst->ssid) == ssid_len && strlen(dst->psk) == psk_len &&
	       bridge_config_text_valid(dst->ssid);
}

/* The hostname travels as [0] hostname_len, [1..32] hostname. */
#define SYS_RECORD_HOSTNAME_OFF 1U
#define SYS_RECORD_LEN (SYS_RECORD_HOSTNAME_OFF + BRIDGE_CONFIG_HOSTNAME_MAX)

static void sys_record_pack(const struct bridge_config_system *src,
			    uint8_t record[SYS_RECORD_LEN])
{
	memset(record, 0, SYS_RECORD_LEN);
	record[0] = (uint8_t)strlen(src->hostname);
	memcpy(&record[SYS_RECORD_HOSTNAME_OFF], src->hostname, record[0]);
}

static bool sys_record_unpack(const uint8_t record[SYS_RECORD_LEN],
			      struct bridge_config_system *dst)
{
	uint8_t hostname_len = record[0];

	if (hostname_len > BRIDGE_CONFIG_HOSTNAME_MAX) {
		return false;
	}

	memset(dst, 0, sizeof(*dst));
	memcpy(dst->hostname, &record[SYS_RECORD_HOSTNAME_OFF], hostname_len);
	return strlen(dst->hostname) == hostname_len &&
	       bridge_config_hostname_valid(dst->hostname);
}

/*
 * All TCP client fields travel in one fixed-size record for the same
 * atomicity: [0] enabled, [1] host_len, [2..16] host, [17..18] port in
 * native byte order.
 */
#define TCP_RECORD_HOST_OFF 2U
#define TCP_RECORD_PORT_OFF (TCP_RECORD_HOST_OFF + BRIDGE_CONFIG_TCP_CLIENT_HOST_MAX)
#define TCP_RECORD_LEN (TCP_RECORD_PORT_OFF + 2U)

static void tcp_record_pack(const struct bridge_config_tcp_client *src,
			    uint8_t record[TCP_RECORD_LEN])
{
	memset(record, 0, TCP_RECORD_LEN);
	record[0] = src->enabled ? 1U : 0U;
	record[1] = (uint8_t)strlen(src->host);
	memcpy(&record[TCP_RECORD_HOST_OFF], src->host, record[1]);
	memcpy(&record[TCP_RECORD_PORT_OFF], &src->port, sizeof(src->port));
}

static bool tcp_record_unpack(const uint8_t record[TCP_RECORD_LEN],
			      struct bridge_config_tcp_client *dst)
{
	uint8_t host_len = record[1];

	if (host_len > BRIDGE_CONFIG_TCP_CLIENT_HOST_MAX) {
		return false;
	}

	memset(dst, 0, sizeof(*dst));
	dst->enabled = record[0] != 0U;
	memcpy(dst->host, &record[TCP_RECORD_HOST_OFF], host_len);
	memcpy(&dst->port, &record[TCP_RECORD_PORT_OFF], sizeof(dst->port));
	return bridge_config_tcp_client_host_valid(dst->host) && dst->port != 0U;
}

static struct bridge_config_ais ais = {
	.filter_enabled = IS_ENABLED(CONFIG_ESP_NMEA_BRIDGE_AIS_SELF_MMSI_FILTER_ENABLE),
	.own_mmsi = CONFIG_ESP_NMEA_BRIDGE_AIS_SELF_MMSI_FILTER_MMSI,
};
static struct bridge_config_sta sta = {
	.enabled = IS_ENABLED(CONFIG_ESP_NMEA_BRIDGE_STA_ENABLE),
	.rotate_mac = IS_ENABLED(CONFIG_ESP_NMEA_BRIDGE_STA_ROTATE_MAC),
	.ssid = CONFIG_ESP_NMEA_BRIDGE_STA_SSID,
	.psk = CONFIG_ESP_NMEA_BRIDGE_STA_PSK,
};
static struct bridge_config_ap ap = {
	.ssid = CONFIG_ESP_NMEA_BRIDGE_AP_SSID,
	.psk = CONFIG_ESP_NMEA_BRIDGE_AP_PSK,
};
static struct bridge_config_system system_cfg = {
	.hostname = CONFIG_NET_HOSTNAME,
};
static struct bridge_config_tcp_client tcp_client = {
	.enabled = IS_ENABLED(CONFIG_ESP_NMEA_BRIDGE_TCP_NMEA_CLIENT_ENABLE),
	.host = CONFIG_ESP_NMEA_BRIDGE_TCP_NMEA_CLIENT_HOST,
	.port = CONFIG_ESP_NMEA_BRIDGE_TCP_NMEA_CLIENT_PORT,
};
static bool reboot_required;
/*
 * After a factory reset the stored overrides are gone but the in-RAM values
 * keep running until reboot. A later save that matches RAM would otherwise
 * be skipped as unchanged and silently revert at the next boot, so once a
 * reset happened every save persists until reboot.
 */
static bool factory_reset_pending;
static K_MUTEX_DEFINE(config_lock);
static bridge_config_listener_t listener;

/* Over-long Kconfig defaults would silently truncate or lose termination. */
BUILD_ASSERT(sizeof(CONFIG_ESP_NMEA_BRIDGE_STA_SSID) <= BRIDGE_CONFIG_WIFI_SSID_MAX + 1,
	     "STA SSID default exceeds 32 bytes");
BUILD_ASSERT(sizeof(CONFIG_ESP_NMEA_BRIDGE_STA_PSK) <= BRIDGE_CONFIG_WIFI_PSK_MAX + 1,
	     "STA PSK default exceeds 63 characters");
BUILD_ASSERT(sizeof(CONFIG_ESP_NMEA_BRIDGE_AP_SSID) <= BRIDGE_CONFIG_WIFI_SSID_MAX + 1,
	     "AP SSID default exceeds 32 bytes");
BUILD_ASSERT(sizeof(CONFIG_ESP_NMEA_BRIDGE_AP_PSK) <= BRIDGE_CONFIG_WIFI_PSK_MAX + 1,
	     "AP PSK default exceeds 63 characters");
BUILD_ASSERT(sizeof(CONFIG_NET_HOSTNAME) <= BRIDGE_CONFIG_HOSTNAME_MAX + 1,
	     "hostname default exceeds 32 characters");
BUILD_ASSERT(sizeof(CONFIG_ESP_NMEA_BRIDGE_TCP_NMEA_CLIENT_HOST) <=
	     BRIDGE_CONFIG_TCP_CLIENT_HOST_MAX + 1,
	     "TCP client host default exceeds 15 characters");

static int bridge_config_settings_set(const char *name, size_t len,
				      settings_read_cb read_cb, void *cb_arg)
{
	if (strcmp(name, "ais") == 0) {
		uint8_t record[AIS_RECORD_LEN];
		struct bridge_config_ais stored;

		if (len != sizeof(record) || read_cb(cb_arg, record, sizeof(record)) != (ssize_t)sizeof(record)) {
			LOG_WRN("Ignoring malformed stored %s", name);
			return 0;
		}
		ais_record_unpack(record, &stored);
		if (stored.own_mmsi > BRIDGE_CONFIG_AIS_MMSI_MAX) {
			LOG_WRN("Ignoring stored %s with out-of-range MMSI", name);
			return 0;
		}
		k_mutex_lock(&config_lock, K_FOREVER);
		ais = stored;
		k_mutex_unlock(&config_lock);
		return 0;
	}

	if (strcmp(name, "tcp") == 0) {
		uint8_t record[TCP_RECORD_LEN];
		struct bridge_config_tcp_client stored;

		if (len != sizeof(record) || read_cb(cb_arg, record, sizeof(record)) != (ssize_t)sizeof(record) ||
		    !tcp_record_unpack(record, &stored)) {
			LOG_WRN("Ignoring malformed stored %s", name);
			return 0;
		}
		k_mutex_lock(&config_lock, K_FOREVER);
		tcp_client = stored;
		k_mutex_unlock(&config_lock);
		return 0;
	}

	if (strcmp(name, "ap") == 0) {
		uint8_t record[AP_RECORD_LEN];
		struct bridge_config_ap stored;

		if (len != sizeof(record) || read_cb(cb_arg, record, sizeof(record)) != (ssize_t)sizeof(record) ||
		    !ap_record_unpack(record, &stored)) {
			LOG_WRN("Ignoring malformed stored %s", name);
			return 0;
		}
		k_mutex_lock(&config_lock, K_FOREVER);
		ap = stored;
		k_mutex_unlock(&config_lock);
		return 0;
	}

	if (strcmp(name, "sys") == 0) {
		uint8_t record[SYS_RECORD_LEN];
		struct bridge_config_system stored;

		if (len != sizeof(record) || read_cb(cb_arg, record, sizeof(record)) != (ssize_t)sizeof(record) ||
		    !sys_record_unpack(record, &stored)) {
			LOG_WRN("Ignoring malformed stored %s", name);
			return 0;
		}
		k_mutex_lock(&config_lock, K_FOREVER);
		system_cfg = stored;
		k_mutex_unlock(&config_lock);
		return 0;
	}

	if (strcmp(name, "sta") == 0) {
		uint8_t record[STA_RECORD_LEN];
		struct bridge_config_sta stored;

		if (len != sizeof(record) || read_cb(cb_arg, record, sizeof(record)) != (ssize_t)sizeof(record) ||
		    !sta_record_unpack(record, &stored)) {
			LOG_WRN("Ignoring malformed stored %s", name);
			return 0;
		}
		k_mutex_lock(&config_lock, K_FOREVER);
		sta = stored;
		k_mutex_unlock(&config_lock);
		return 0;
	}

	return -ENOENT;
}

#if defined(CONFIG_SETTINGS) && !defined(CONFIG_ZTEST)
SETTINGS_STATIC_HANDLER_DEFINE(bridge_config, BRIDGE_CONFIG_SUBTREE, NULL,
			       bridge_config_settings_set, NULL, NULL);
#endif

int bridge_config_init(void)
{
	int ret = cfg_settings_subsys_init();

	if (ret != 0) {
		LOG_WRN("Settings init failed: %d; using build-time defaults", ret);
		return ret;
	}

	ret = cfg_settings_load_subtree(BRIDGE_CONFIG_SUBTREE);
	if (ret != 0) {
		LOG_WRN("Loading stored configuration failed: %d", ret);
	}
	return ret;
}

void bridge_config_get_ais(struct bridge_config_ais *out)
{
	if (out == NULL) {
		return;
	}

	k_mutex_lock(&config_lock, K_FOREVER);
	*out = ais;
	k_mutex_unlock(&config_lock);
}

void bridge_config_get_tcp_client(struct bridge_config_tcp_client *out)
{
	if (out == NULL) {
		return;
	}

	k_mutex_lock(&config_lock, K_FOREVER);
	*out = tcp_client;
	k_mutex_unlock(&config_lock);
}

int bridge_config_set_tcp_client(const struct bridge_config_tcp_client *next)
{
	uint8_t record[TCP_RECORD_LEN];
	bool value_changed;
	bool changed;
	int ret;

	if (next == NULL || memchr(next->host, '\0', sizeof(next->host)) == NULL ||
	    !bridge_config_tcp_client_host_valid(next->host) || next->port == 0U) {
		return -EINVAL;
	}

	k_mutex_lock(&config_lock, K_FOREVER);
	value_changed = tcp_client.enabled != next->enabled || tcp_client.port != next->port ||
			strcmp(tcp_client.host, next->host) != 0;
	changed = factory_reset_pending || value_changed;
	k_mutex_unlock(&config_lock);

	if (!changed) {
		return 0;
	}

	tcp_record_pack(next, record);
	ret = cfg_settings_save_one(BRIDGE_CONFIG_KEY_TCP, record, sizeof(record));
	if (ret != 0) {
		LOG_ERR("Persisting %s failed: %d", BRIDGE_CONFIG_KEY_TCP, ret);
		return ret;
	}

	k_mutex_lock(&config_lock, K_FOREVER);
	tcp_client = *next;
	k_mutex_unlock(&config_lock);

	/* A save forced by a pending factory reset changed nothing effective,
	 * so it must not bounce live consumers.
	 */
	if (value_changed && listener != NULL) {
		listener();
	}
	return 0;
}

void bridge_config_get_sta(struct bridge_config_sta *out)
{
	if (out == NULL) {
		return;
	}

	k_mutex_lock(&config_lock, K_FOREVER);
	*out = sta;
	k_mutex_unlock(&config_lock);
}

int bridge_config_set_sta(const struct bridge_config_sta *next)
{
	uint8_t record[STA_RECORD_LEN];
	size_t psk_len;
	bool changed;
	int ret;

	/* Unterminated arrays would mean over-long fields; the terminated
	 * capacity already caps the SSID at 32 bytes.
	 */
	if (next == NULL || memchr(next->ssid, '\0', sizeof(next->ssid)) == NULL ||
	    memchr(next->psk, '\0', sizeof(next->psk)) == NULL ||
	    !bridge_config_text_valid(next->ssid)) {
		return -EINVAL;
	}
	psk_len = strlen(next->psk);
	if (psk_len != 0U &&
	    (psk_len < BRIDGE_CONFIG_WIFI_PSK_MIN || psk_len > BRIDGE_CONFIG_WIFI_PSK_MAX)) {
		return -EINVAL;
	}

	k_mutex_lock(&config_lock, K_FOREVER);
	changed = factory_reset_pending || sta.enabled != next->enabled ||
		  sta.rotate_mac != next->rotate_mac ||
		  strcmp(sta.ssid, next->ssid) != 0 || strcmp(sta.psk, next->psk) != 0;
	k_mutex_unlock(&config_lock);

	if (!changed) {
		return 0;
	}

	sta_record_pack(next, record);
	ret = cfg_settings_save_one(BRIDGE_CONFIG_KEY_STA, record, sizeof(record));
	if (ret != 0) {
		LOG_ERR("Persisting %s failed: %d", BRIDGE_CONFIG_KEY_STA, ret);
		return ret;
	}

	k_mutex_lock(&config_lock, K_FOREVER);
	sta = *next;
	reboot_required = true;
	k_mutex_unlock(&config_lock);
	return 0;
}

void bridge_config_get_ap(struct bridge_config_ap *out)
{
	if (out == NULL) {
		return;
	}

	k_mutex_lock(&config_lock, K_FOREVER);
	*out = ap;
	k_mutex_unlock(&config_lock);
}

int bridge_config_set_ap(const struct bridge_config_ap *next)
{
	uint8_t record[AP_RECORD_LEN];
	size_t ssid_len;
	size_t psk_len;
	bool changed;
	int ret;

	if (next == NULL || memchr(next->ssid, '\0', sizeof(next->ssid)) == NULL ||
	    memchr(next->psk, '\0', sizeof(next->psk)) == NULL ||
	    !bridge_config_text_valid(next->ssid)) {
		return -EINVAL;
	}
	ssid_len = strlen(next->ssid);
	psk_len = strlen(next->psk);
	if (ssid_len == 0U ||
	    (psk_len != 0U &&
	     (psk_len < BRIDGE_CONFIG_WIFI_PSK_MIN || psk_len > BRIDGE_CONFIG_WIFI_PSK_MAX))) {
		return -EINVAL;
	}

	k_mutex_lock(&config_lock, K_FOREVER);
	changed = factory_reset_pending || strcmp(ap.ssid, next->ssid) != 0 ||
		  strcmp(ap.psk, next->psk) != 0;
	k_mutex_unlock(&config_lock);

	if (!changed) {
		return 0;
	}

	ap_record_pack(next, record);
	ret = cfg_settings_save_one(BRIDGE_CONFIG_KEY_AP, record, sizeof(record));
	if (ret != 0) {
		LOG_ERR("Persisting %s failed: %d", BRIDGE_CONFIG_KEY_AP, ret);
		return ret;
	}

	k_mutex_lock(&config_lock, K_FOREVER);
	ap = *next;
	reboot_required = true;
	k_mutex_unlock(&config_lock);
	return 0;
}

void bridge_config_get_system(struct bridge_config_system *out)
{
	if (out == NULL) {
		return;
	}

	k_mutex_lock(&config_lock, K_FOREVER);
	*out = system_cfg;
	k_mutex_unlock(&config_lock);
}

int bridge_config_set_system(const struct bridge_config_system *next)
{
	uint8_t record[SYS_RECORD_LEN];
	bool changed;
	int ret;

	if (next == NULL || memchr(next->hostname, '\0', sizeof(next->hostname)) == NULL ||
	    !bridge_config_hostname_valid(next->hostname)) {
		return -EINVAL;
	}

	k_mutex_lock(&config_lock, K_FOREVER);
	changed = factory_reset_pending || strcmp(system_cfg.hostname, next->hostname) != 0;
	k_mutex_unlock(&config_lock);

	if (!changed) {
		return 0;
	}

	sys_record_pack(next, record);
	ret = cfg_settings_save_one(BRIDGE_CONFIG_KEY_SYS, record, sizeof(record));
	if (ret != 0) {
		LOG_ERR("Persisting %s failed: %d", BRIDGE_CONFIG_KEY_SYS, ret);
		return ret;
	}

	k_mutex_lock(&config_lock, K_FOREVER);
	system_cfg = *next;
	reboot_required = true;
	k_mutex_unlock(&config_lock);
	return 0;
}

/*
 * One enumeration pass collects at most this many full key names; more
 * stored keys than that just take another delete-and-rescan pass. Any name
 * the settings core accepts fits a slot, so no legal key can escape
 * deletion.
 */
#define RESET_KEYS_PER_PASS 8U
#define RESET_KEY_NAME_MAX SETTINGS_MAX_NAME_LEN
#define RESET_FULL_NAME_LEN (sizeof(BRIDGE_CONFIG_SUBTREE) + RESET_KEY_NAME_MAX + 1U)

struct reset_key_batch {
	char names[RESET_KEYS_PER_PASS][RESET_FULL_NAME_LEN];
	size_t count;
	bool more;
	/*
	 * settings_load_subtree_direct() discards both the backend's and the
	 * callback's return value and always returns 0, so errors must travel
	 * through the batch itself to reach the caller.
	 */
	int err;
};

static int reset_collect_cb(const char *key, size_t len, settings_read_cb read_cb,
			    void *cb_arg, void *param)
{
	struct reset_key_batch *batch = param;

	ARG_UNUSED(len);
	ARG_UNUSED(read_cb);
	ARG_UNUSED(cb_arg);

	if (key != NULL && strlen(key) > RESET_KEY_NAME_MAX) {
		/* Corrupt store: skipping it silently would fake a full reset. */
		batch->err = -ENAMETOOLONG;
		return -ENAMETOOLONG;
	}
	if (batch->count == ARRAY_SIZE(batch->names)) {
		/* Stops this pass; the caller deletes the batch and rescans. */
		batch->more = true;
		return 1;
	}
	if (key == NULL) {
		/*
		 * A record named exactly "bridge" matches the subtree with
		 * nothing left over; settings_name_steq() then leaves the
		 * key NULL.
		 */
		strcpy(batch->names[batch->count], BRIDGE_CONFIG_SUBTREE);
	} else {
		(void)snprintk(batch->names[batch->count], sizeof(batch->names[0]),
			       "%s/%s", BRIDGE_CONFIG_SUBTREE, key);
	}
	batch->count++;
	return 0;
}

/* Only called from the single web server thread, like the setters. */
int bridge_config_factory_reset(void)
{
	struct reset_key_batch batch;
	bool any_deleted = false;
	int ret = 0;

	do {
		batch.count = 0;
		batch.more = false;
		batch.err = 0;
		(void)cfg_settings_load_subtree_direct(BRIDGE_CONFIG_SUBTREE,
						       reset_collect_cb, &batch);
		/*
		 * Delete what this pass collected even when enumeration ended
		 * in an error, so retries on a corrupt store still converge:
		 * every attempt removes the valid overrides it saw.
		 */
		for (size_t i = 0; i < batch.count; i++) {
			ret = cfg_settings_delete(batch.names[i]);
			if (ret != 0) {
				LOG_ERR("Deleting %s failed: %d", batch.names[i], ret);
				break;
			}
			any_deleted = true;
		}
		if (ret == 0 && batch.err != 0) {
			LOG_ERR("Enumerating stored configuration failed: %d", batch.err);
			ret = batch.err;
		}
	} while (ret == 0 && batch.more);

	/*
	 * Even a failed reset may have deleted overrides already, so the
	 * sticky flags must reflect any successful delete — otherwise a later
	 * "unchanged" save would be skipped and silently revert at boot.
	 */
	if (ret == 0 || any_deleted) {
		k_mutex_lock(&config_lock, K_FOREVER);
		reboot_required = true;
		factory_reset_pending = true;
		k_mutex_unlock(&config_lock);
	}
	if (ret == 0) {
		LOG_INF("Factory reset: stored configuration overrides deleted");
	}
	return ret;
}

bool bridge_config_reboot_required(void)
{
	bool required;

	k_mutex_lock(&config_lock, K_FOREVER);
	required = reboot_required;
	k_mutex_unlock(&config_lock);
	return required;
}

void bridge_config_set_listener(bridge_config_listener_t new_listener)
{
	listener = new_listener;
}

int bridge_config_set_ais(const struct bridge_config_ais *next)
{
	uint8_t record[AIS_RECORD_LEN];
	bool value_changed;
	bool changed;
	int ret;

	if (next == NULL || next->own_mmsi > BRIDGE_CONFIG_AIS_MMSI_MAX) {
		return -EINVAL;
	}

	k_mutex_lock(&config_lock, K_FOREVER);
	value_changed = ais.filter_enabled != next->filter_enabled ||
			ais.own_mmsi != next->own_mmsi;
	changed = factory_reset_pending || value_changed;
	k_mutex_unlock(&config_lock);

	if (!changed) {
		return 0;
	}

	ais_record_pack(next, record);
	ret = cfg_settings_save_one(BRIDGE_CONFIG_KEY_AIS, record, sizeof(record));
	if (ret != 0) {
		LOG_ERR("Persisting %s failed: %d", BRIDGE_CONFIG_KEY_AIS, ret);
		return ret;
	}

	k_mutex_lock(&config_lock, K_FOREVER);
	ais = *next;
	k_mutex_unlock(&config_lock);

	if (value_changed && listener != NULL) {
		listener();
	}
	return 0;
}

#ifdef CONFIG_ZTEST
int bridge_config_test_settings_set(const char *name, size_t len,
				    settings_read_cb read_cb, void *cb_arg)
{
	return bridge_config_settings_set(name, len, read_cb, cb_arg);
}

void bridge_config_test_reset(void)
{
	ais.filter_enabled = IS_ENABLED(CONFIG_ESP_NMEA_BRIDGE_AIS_SELF_MMSI_FILTER_ENABLE);
	ais.own_mmsi = CONFIG_ESP_NMEA_BRIDGE_AIS_SELF_MMSI_FILTER_MMSI;
	memset(&sta, 0, sizeof(sta));
	sta.enabled = IS_ENABLED(CONFIG_ESP_NMEA_BRIDGE_STA_ENABLE);
	sta.rotate_mac = IS_ENABLED(CONFIG_ESP_NMEA_BRIDGE_STA_ROTATE_MAC);
	strcpy(sta.ssid, CONFIG_ESP_NMEA_BRIDGE_STA_SSID);
	strcpy(sta.psk, CONFIG_ESP_NMEA_BRIDGE_STA_PSK);
	memset(&ap, 0, sizeof(ap));
	strcpy(ap.ssid, CONFIG_ESP_NMEA_BRIDGE_AP_SSID);
	strcpy(ap.psk, CONFIG_ESP_NMEA_BRIDGE_AP_PSK);
	memset(&system_cfg, 0, sizeof(system_cfg));
	strcpy(system_cfg.hostname, CONFIG_NET_HOSTNAME);
	memset(&tcp_client, 0, sizeof(tcp_client));
	tcp_client.enabled = IS_ENABLED(CONFIG_ESP_NMEA_BRIDGE_TCP_NMEA_CLIENT_ENABLE);
	strcpy(tcp_client.host, CONFIG_ESP_NMEA_BRIDGE_TCP_NMEA_CLIENT_HOST);
	tcp_client.port = CONFIG_ESP_NMEA_BRIDGE_TCP_NMEA_CLIENT_PORT;
	reboot_required = false;
	factory_reset_pending = false;
	listener = NULL;
}
#endif
```

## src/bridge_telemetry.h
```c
#ifndef BRIDGE_TELEMETRY_H_
#define BRIDGE_TELEMETRY_H_

#include <stdbool.h>
#include <stdint.h>

#define BRIDGE_TELEMETRY_NMEA_INPUT_WINDOW_MS 5000U
#define BRIDGE_TELEMETRY_IPV4_ADDR_STR_LEN 16U

enum bridge_telemetry_nmea_connection_state {
	BRIDGE_TELEMETRY_NMEA_DISCONNECTED,
	BRIDGE_TELEMETRY_NMEA_CONNECTED,
};

enum bridge_telemetry_nmea_input_state {
	BRIDGE_TELEMETRY_NMEA_INPUT_IDLE,
	BRIDGE_TELEMETRY_NMEA_INPUT_ACTIVE,
};

struct bridge_telemetry_counters {
	uint32_t uart_bytes_rx;
	uint32_t uart_frames_rx;
	uint32_t uart_overlong_frames;
	uint32_t uart_ais_self_mmsi_filtered;
	uint32_t bridge_frames_in;
	uint32_t bridge_ingest_dropped_oldest;
	uint32_t bridge_sink_dropped_oldest;
	uint32_t bridge_publish_no_sinks;
	uint32_t bridge_publish_invalid;
	uint32_t bridge_publish_oversize;
	uint32_t tcp_nmea_active_sessions;
	uint32_t tcp_server_active_peers;
	uint32_t tcp_server_max_peers;
};

struct bridge_telemetry_warnings {
	bool data_quality;
	bool frame_loss;
};

struct bridge_telemetry_snapshot {
	enum bridge_telemetry_nmea_connection_state connection_state;
	enum bridge_telemetry_nmea_input_state input_state;
	struct bridge_telemetry_warnings warnings;
	bool sta_ready;
	char sta_ipv4[BRIDGE_TELEMETRY_IPV4_ADDR_STR_LEN]; /* empty when unavailable */
	bool sta_rssi_valid;
	int sta_rssi_dbm;
	struct bridge_telemetry_counters counters;
};

struct bridge_telemetry_inputs {
	uint32_t uart_bytes_rx;
	uint32_t uart_frames_rx;
	uint32_t uart_overlong_frames;
	uint32_t uart_ais_self_mmsi_filtered;
	uint32_t bridge_frames_in;
	uint32_t bridge_ingest_dropped_oldest;
	uint32_t bridge_sink_dropped_oldest;
	uint32_t bridge_publish_no_sinks;
	uint32_t bridge_publish_invalid;
	uint32_t bridge_publish_oversize;
	uint32_t tcp_nmea_active_sessions;
	uint32_t tcp_server_active_peers;
	uint32_t tcp_server_max_peers;
	bool sta_ready;
	char sta_ipv4[BRIDGE_TELEMETRY_IPV4_ADDR_STR_LEN]; /* empty when unavailable */
	bool sta_rssi_valid;
	int sta_rssi_dbm;
};

struct bridge_telemetry_state {
	uint32_t last_bridge_frames_in;
	int64_t last_bridge_frame_ms;
	bool initialized;
};

void bridge_telemetry_get_snapshot(struct bridge_telemetry_snapshot *snapshot);
void bridge_telemetry_build_snapshot(struct bridge_telemetry_state *state,
				     const struct bridge_telemetry_inputs *inputs,
				     int64_t now_ms,
				     struct bridge_telemetry_snapshot *snapshot);

#endif /* BRIDGE_TELEMETRY_H_ */
```
